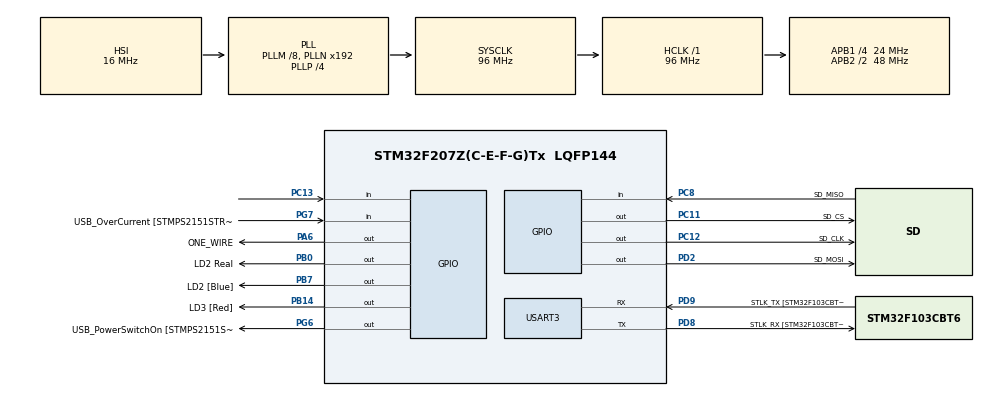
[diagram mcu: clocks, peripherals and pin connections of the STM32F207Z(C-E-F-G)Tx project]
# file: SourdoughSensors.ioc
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Mcu.Family=STM32F2
Mcu.Name=STM32F207Z(C-E-F-G)Tx
Mcu.Package=LQFP144
NVIC.PriorityGroup=NVIC_PRIORITYGROUP_4
PA1.GPIO_Label=RMII_REF_CLK [LAN8742A-CZ-TR_REFCLK0]
PA1.Signal=ETH_REF_CLK
PA10.GPIO_Label=USB_ID
PA10.Signal=USB_OTG_FS_ID
PA11.GPIO_Label=USB_DM
PA11.Signal=USB_OTG_FS_DM
PA12.GPIO_Label=USB_DP
PA12.Signal=USB_OTG_FS_DP
PA13.GPIO_Label=TMS
PA13.Mode=Serial_Wire
PA13.Signal=SYS_JTMS-SWDIO
PA14.GPIO_Label=TCK
PA14.Mode=Serial_Wire
PA14.Signal=SYS_JTCK-SWCLK
PA2.GPIO_Label=RMII_MDIO [LAN8742A-CZ-TR_MDIO]
PA2.Signal=ETH_MDIO
PA6.GPIO_Label=ONE_WIRE
PA6.GPIO_ModeDefaultOutputPP=GPIO_MODE_OUTPUT_OD
PA6.PinState=GPIO_PIN_SET
PA6.Signal=GPIO_Output
PA9.GPIO_Label=USB_VBUS
PA9.Signal=USB_OTG_FS_VBUS
PB0.GPIO_Label=LD2 Real
PB0.PinState=GPIO_PIN_SET
PB0.Signal=GPIO_Output
PB13.GPIO_Label=RMII_TXD1 [LAN8742A-CZ-TR_TXD1]
PB13.Signal=ETH_TXD1
PB14.GPIO_Label=LD3 [Red]
PB14.Signal=GPIO_Output
PB3.GPIO_Label=SWO
PB3.Signal=SYS_JTDO-SWO
PB7.GPIO_Label=LD2 [Blue]
PB7.Signal=GPIO_Output
PC1.GPIO_Label=RMII_MDC [LAN8742A-CZ-TR_MDC]
PC1.Signal=ETH_MDC
PC11.GPIO_Label=SD_CS
PC11.Signal=GPIO_Output
PC12.GPIO_Label=SD_CLK
PC12.GPIO_Speed=GPIO_SPEED_FREQ_LOW
PC12.Signal=GPIO_Output
PC13.GPIO_PuPd=GPIO_NOPULL
PC13.Signal=GPIO_Input
PC14-OSC32_IN.Mode=LSE-External-Oscillator
PC14-OSC32_IN.Signal=RCC_OSC32_IN
PC15-OSC32_OUT.Mode=LSE-External-Oscillator
PC15-OSC32_OUT.Signal=RCC_OSC32_OUT
PC4.GPIO_Label=RMII_RXD0 [LAN8742A-CZ-TR_RXD0]
PC4.Signal=ETH_RXD0
PC5.GPIO_Label=RMII_RXD1 [LAN8742A-CZ-TR_RXD1]
PC5.Signal=ETH_RXD1
PC8.GPIO_Label=SD_MISO
PC8.Signal=GPIO_Input
PD2.GPIO_Label=SD_MOSI
PD2.Signal=GPIO_Output
PD8.GPIO_Label=STLK_RX [STM32F103CBT6_PA3]
PD8.Mode=Asynchronous
PD8.Signal=USART3_TX
PD9.GPIO_Label=STLK_TX [STM32F103CBT6_PA2]
PD9.Mode=Asynchronous
PD9.Signal=USART3_RX
PG11.GPIO_Label=RMII_TX_EN [LAN8742A-CZ-TR_TXEN]
PG11.Signal=ETH_TX_EN
PG13.GPIO_Label=RMII_TXD0 [LAN8742A-CZ-TR_TXD0]
PG13.Signal=ETH_TXD0
PG6.GPIO_Label=USB_PowerSwitchOn [STMPS2151STR_EN]
PG6.Signal=GPIO_Output
PG7.GPIO_Label=USB_OverCurrent [STMPS2151STR_FAULT]
PG7.Signal=GPIO_Input
PH0-OSC_IN.GPIO_Label=MCO [STM32F103CBT6_PA8]
PH0-OSC_IN.Mode=HSE-External-Clock-Source
PH0-OSC_IN.Signal=RCC_OSC_IN
PH1-OSC_OUT.Mode=HSE-External-Clock-Source
PH1-OSC_OUT.Signal=RCC_OSC_OUT
ProjectManager.HeapSize=0x200
ProjectManager.StackSize=0x400
ProjectManager.TargetToolchain=Makefile
RCC.48MHZClocksFreq_Value=48000000
RCC.AHBFreq_Value=96000000
RCC.APB1CLKDivider=RCC_HCLK_DIV4
RCC.APB1Freq_Value=24000000
RCC.APB1TimFreq_Value=48000000
RCC.APB2CLKDivider=RCC_HCLK_DIV2
RCC.APB2Freq_Value=48000000
RCC.APB2TimFreq_Value=96000000
RCC.CortexFreq_Value=96000000
RCC.HCLKFreq_Value=96000000
RCC.HSE_VALUE=8000000
RCC.HSI_VALUE=16000000
RCC.PLLM=8
RCC.PLLMUL=RCC_PLL_MUL9
RCC.PLLP=RCC_PLLP_DIV4
RCC.PLLQ=8
RCC.PRESCALERUSB=RCC_USBCLKSOURCE_PLL_DIV1_5
RCC.SYSCLKFreq_VALUE=96000000
RCC.SYSCLKSource=RCC_SYSCLKSOURCE_PLLCLK
RCC.SYSCLKSourceVirtual=RCC_SYSCLKSOURCE_PLLCLK
RCC.USBFreq_Value=48000000
RCC.VCOOutputFreq_Value=384000000
USART3.VirtualMode=VM_ASYNC
board=NUCLEO-F207ZG

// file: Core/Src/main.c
/* USER CODE BEGIN Header */
/**
  ******************************************************************************
  * @file           : main.c
  * @brief          : Main program body
  ******************************************************************************
  * @attention
  *
  * <h2><center>&copy; Copyright (c) 2019 STMicroelectronics.
  * All rights reserved.</center></h2>
  *
  * This software component is licensed by ST under BSD 3-Clause license,
  * the "License"; You may not use this file except in compliance with the
  * License. You may obtain a copy of the License at:
  *                        opensource.org/licenses/BSD-3-Clause
  *
  ******************************************************************************
  */
/* USER CODE END Header */

#include "main.h"
#include "usart.h"
#include "gpio.h"

/* USER CODE BEGIN Includes */
#include "one_wire.h"
#include "spi_gpio.h"
#include "ff.h"
#include "sour_fs.h"
/* USER CODE END Includes */

void SystemClock_Config(void);

int main(void)
{

  /* MCU Configuration--------------------------------------------------------*/

  /* Reset of all peripherals, Initializes the Flash interface and the Systick. */
  HAL_Init();

  /* Configure the system clock */
  SystemClock_Config();

  /* Initialize all configured peripherals */
  MX_GPIO_Init();
  MX_USART3_UART_Init();
  /* USER CODE BEGIN 2 */

  HAL_GPIO_WritePin(GPIOC,GPIO_PIN_9,GPIO_PIN_SET);

  UART_HandleTypeDef huart;

  huart.Instance = USART3;
  huart.Init.BaudRate = 115200;
  huart.Init.WordLength = UART_WORDLENGTH_8B;
  huart.Init.StopBits = UART_STOPBITS_1;
  huart.Init.Parity = UART_PARITY_NONE;
  huart.Init.Mode = UART_MODE_TX_RX;
  huart.Init.HwFlowCtl = UART_HWCONTROL_NONE;
  huart.Init.OverSampling = UART_OVERSAMPLING_8;

  HAL_UART_Init(&huart);

   // ONE_WIRE_GPIO_Port->ODR &= ~(ONE_WIRE_Pin);
   // ONE_WIRE_GPIO_Port->MODER &= (3 << (ONE_WIRE_Pin * 2));
  char tempStr[256];
  int len;

  init_spi_gpio();

  init_sd_card();

  FATFS fs;
  // DIR root_dir;
  // FILINFO file_info;
  FRESULT res;

  res = f_mount(&fs, "", 0);
  if (res != FR_OK) {
    while (1);
  }

  uint32_t trial_num;

  trial_num = create_trial();

  if (trial_num == 0) {
    while(1);
  }

  struct TrialEntry entry;

  entry.ts = 1;
  entry.temp_dn[0] = 1000;
  entry.temp_dn[1] = 1001;
  entry.temp_dn[2] = 1002;
  entry.temp_dn[3] = 1003;
  entry.temp_dn[4] = 1004;
  entry.have_img = false;
  entry.img_num = 0;

  if(!add_trial_entry(trial_num, &entry, NULL, 0)) {
    while (1);
  }

  entry.ts = 2;
  entry.temp_dn[0] = 1100;
  entry.temp_dn[1] = 1101;
  entry.temp_dn[2] = 1102;
  entry.temp_dn[3] = 1103;
  entry.temp_dn[4] = 1104;
  entry.have_img = true;
  entry.img_num = 1;

  uint8_t dummy_img[] = "MyJpg";

  if (!add_trial_entry(trial_num, &entry, dummy_img, sizeof(dummy_img))) {
    while (1);
  }

  entry.ts = 3;
  entry.temp_dn[0] = 1200;
  entry.temp_dn[1] = 1201;
  entry.temp_dn[2] = 1202;
  entry.temp_dn[3] = 1203;
  entry.temp_dn[4] = 1204;
  entry.have_img = false;
  entry.img_num = 0;

  if (!add_trial_entry(trial_num, &entry, NULL, 0)) {
    while (1);
  }

  while (1);

  // res = f_opendir(&root_dir, "/");
  // if (res != FR_OK) {
  //   while (1);
  // }

  // do {

  //   f_readdir(&root_dir, &file_info);
  //   if (res != FR_OK) {
  //     break;
  //   }

  //   if (file_info.fname[0] != '\0') {
  //     len = snprintf(tempStr, 256, "/%s\r\n", file_info.fname);
  //     HAL_UART_Transmit(&huart, tempStr, len, 10000);
  //   }

  // } while (file_info.fname[0] != '\0');

  while(1);

  one_wire_init();

  // one_wire_reset();

  // one_wire_write_bit(0);
  // one_wire_write_bit(1);

  // (void)one_wire_read_bit();

  volatile uint16_t temp;

  (void)temp;

  struct OneWireDevice devices[8];

  int i;
  for (i = 0; i < 8; i++) {
    int j;
    for (j = 0; j < 8; j++) {
      devices[i].id[j] = 0;
    }
  }

  volatile int32_t found = one_wire_discover(devices, 8);

  len = snprintf(tempStr, 256, "Found Devices: \r\n");
  HAL_UART_Transmit(&huart, tempStr, len, 100000);

  for (i = 0; i < found; i++) {
    len = snprintf(tempStr, 256, " %.2X%.2X%.2X%.2X%.2X%.2X%.2X%.2X\r\n",
                   devices[i].id[0],
                   devices[i].id[1],
                   devices[i].id[2],
                   devices[i].id[3],
                   devices[i].id[4],
                   devices[i].id[5],
                   devices[i].id[6],
                   devices[i].id[7]
                   );
    HAL_UART_Transmit(&huart, tempStr, len, 100000);
  }

  /* USER CODE END 2 */

  /* Infinite loop */
  while (1)
  {

    /* USER CODE BEGIN 3 */
    uint16_t temps[8];

    for (i = 0; i < found; i++) {
      temps[i] = one_wire_read_temp(&devices[i]);
    }

    // Home cursor
    len = snprintf(tempStr, 256, "\x1B[2J");
    HAL_UART_Transmit(&huart, tempStr, len, 100000);

    for (i = 0; i < found; i++) {
      int temp_f = temps[i] / 16;
      len = snprintf(tempStr, 256, " %.2X%.2X%.2X%.2X%.2X%.2X%.2X%.2X: %d\r\n",
                    devices[i].id[0],
                    devices[i].id[1],
                    devices[i].id[2],
                    devices[i].id[3],
                    devices[i].id[4],
                    devices[i].id[5],
                    devices[i].id[6],
                    devices[i].id[7],
                    temp_f
                    );
      HAL_UART_Transmit(&huart, tempStr, len, 100000);
    }

    // temp = one_wire_read_temp();

    // snprintf(tempStr, 256, "%.4X\r\n", temp);

    // HAL_UART_Transmit(&huart, tempStr, 6, 100000);

  }
  /* USER CODE END 3 */
}

void SystemClock_Config(void)
{
  RCC_OscInitTypeDef RCC_OscInitStruct = {0};
  RCC_ClkInitTypeDef RCC_ClkInitStruct = {0};

  /** Initializes the CPU, AHB and APB busses clocks
  */
  RCC_OscInitStruct.OscillatorType = RCC_OSCILLATORTYPE_HSI;
  RCC_OscInitStruct.HSIState = RCC_HSI_ON;
  RCC_OscInitStruct.HSICalibrationValue = RCC_HSICALIBRATION_DEFAULT;
  RCC_OscInitStruct.PLL.PLLState = RCC_PLL_ON;
  RCC_OscInitStruct.PLL.PLLSource = RCC_PLLSOURCE_HSI;
  RCC_OscInitStruct.PLL.PLLM = 8;
  RCC_OscInitStruct.PLL.PLLN = 192;
  RCC_OscInitStruct.PLL.PLLP = RCC_PLLP_DIV4;
  RCC_OscInitStruct.PLL.PLLQ = 8;
  if (HAL_RCC_OscConfig(&RCC_OscInitStruct) != HAL_OK)
  {
    Error_Handler();
  }
  /** Initializes the CPU, AHB and APB busses clocks
  */
  RCC_ClkInitStruct.ClockType = RCC_CLOCKTYPE_HCLK|RCC_CLOCKTYPE_SYSCLK
                              |RCC_CLOCKTYPE_PCLK1|RCC_CLOCKTYPE_PCLK2;
  RCC_ClkInitStruct.SYSCLKSource = RCC_SYSCLKSOURCE_PLLCLK;
  RCC_ClkInitStruct.AHBCLKDivider = RCC_SYSCLK_DIV1;
  RCC_ClkInitStruct.APB1CLKDivider = RCC_HCLK_DIV4;
  RCC_ClkInitStruct.APB2CLKDivider = RCC_HCLK_DIV2;

  if (HAL_RCC_ClockConfig(&RCC_ClkInitStruct, FLASH_LATENCY_3) != HAL_OK)
  {
    Error_Handler();
  }
}

void Error_Handler(void)
{
}

/************************ (C) COPYRIGHT STMicroelectronics *****END OF FILE****/
